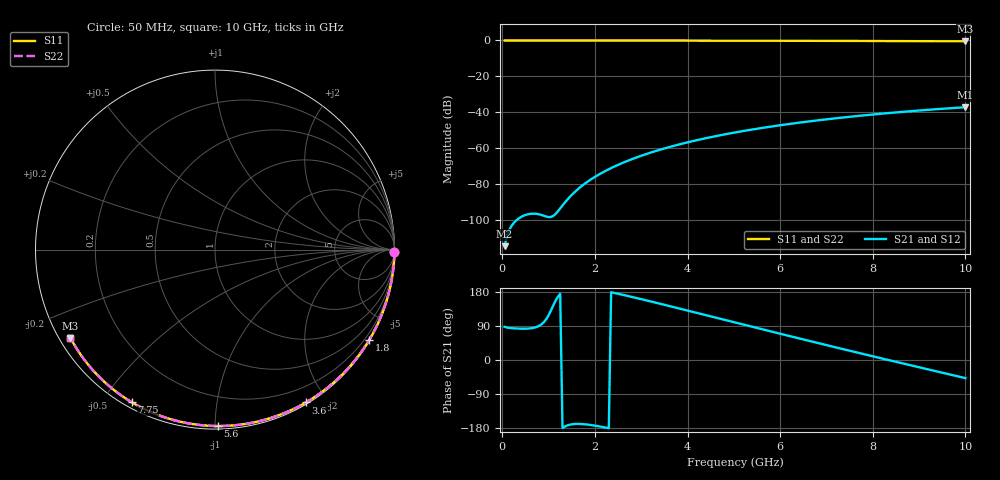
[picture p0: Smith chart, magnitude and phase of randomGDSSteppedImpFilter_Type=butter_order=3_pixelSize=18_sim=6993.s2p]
! freq	dB(S11)	phase(S11)	dB(S12)	phase(S12)
!  dB(S21)	phase(S21)	dB(S22)	phase(S22)
!S-par simulation data
#  GHz  S  DB  R 50
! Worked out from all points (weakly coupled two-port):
!   200 points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, 50 MHz to 10 GHz, reference 50 ohm
!   highest |S21| = -37.19 dB at 10 GHz (marker M1); lowest = -114.6 dB at 50 MHz (marker M2)
!   lowest |S11| = -0.5 dB at 10 GHz (marker M3), VSWR 34.58, Z = 1.56 - j14 ohm
!   |S11| at or under -10 dB: nowhere
!   |S22| runs from -0.5 to 0.0 dB; largest |S21 - S12| = 0
!   S11 on the Smith chart (normalised r, x): 50 MHz: open; 1.8 GHz: 0.03, -3.68; 3.6 GHz: 0.02, -1.76; 5.6 GHz: 0.02, -1.02; 7.75 GHz: 0.02, -0.59; 10 GHz: 0.03, -0.28
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0.05  -0.00 -0.9  -114.62 87.6  -114.62 87.6  -0.00 -0.9
0.45  -0.01 -7.7  -97.76 82.6  -97.76 82.6  -0.01 -7.7
0.9  -0.02 -15.3  -97.69 100.2  -97.69 100.2  -0.02 -15.3
1.3  -0.03 -22.1  -91.93 -179.6  -91.93 -179.6  -0.03 -22.1
1.75  -0.04 -29.5  -80.40 -169.3  -80.40 -169.3  -0.04 -29.5
1.8  -0.04 -30.4  -79.44 -169.9  -79.44 -169.9  -0.04 -30.4
1.95  -0.04 -32.8  -76.81 -172.2  -76.81 -172.2  -0.04 -32.8
2.1  -0.05 -35.3  -74.49 -175.2  -74.49 -175.2  -0.05 -35.3
2.3  -0.05 -38.6  -71.74 -180.0  -71.74 -180.0  -0.05 -38.6
2.5  -0.05 -41.8  -69.31 174.8  -69.31 174.8  -0.05 -41.8
2.9  -0.06 -48.2  -65.16 163.5  -65.16 163.5  -0.06 -48.2
3.4  -0.07 -56.1  -60.92 148.7  -60.92 148.7  -0.07 -56.1
3.6  -0.08 -59.2  -59.44 142.7  -59.44 142.7  -0.08 -59.2
4.3  -0.10 -69.9  -54.99 121.3  -54.99 121.3  -0.10 -69.9
5.05  -0.12 -81.1  -51.15 98.3  -51.15 98.3  -0.12 -81.1
5.6  -0.15 -89.0  -48.78 81.5  -48.78 81.5  -0.15 -89.0
6.15  -0.17 -96.8  -46.69 64.8  -46.69 64.8  -0.17 -96.8
6.7  -0.20 -104.4  -44.85 48.2  -44.85 48.2  -0.20 -104.4
7.75  -0.28 -118.6  -41.88 17.1  -41.88 17.1  -0.28 -118.6
8.35  -0.33 -126.6  -40.43 -0.4  -40.43 -0.4  -0.33 -126.6
9.2  -0.41 -137.9  -38.64 -24.9  -38.64 -24.9  -0.41 -137.9
10  -0.50 -148.6  -37.19 -47.8  -37.19 -47.8  -0.50 -148.6
